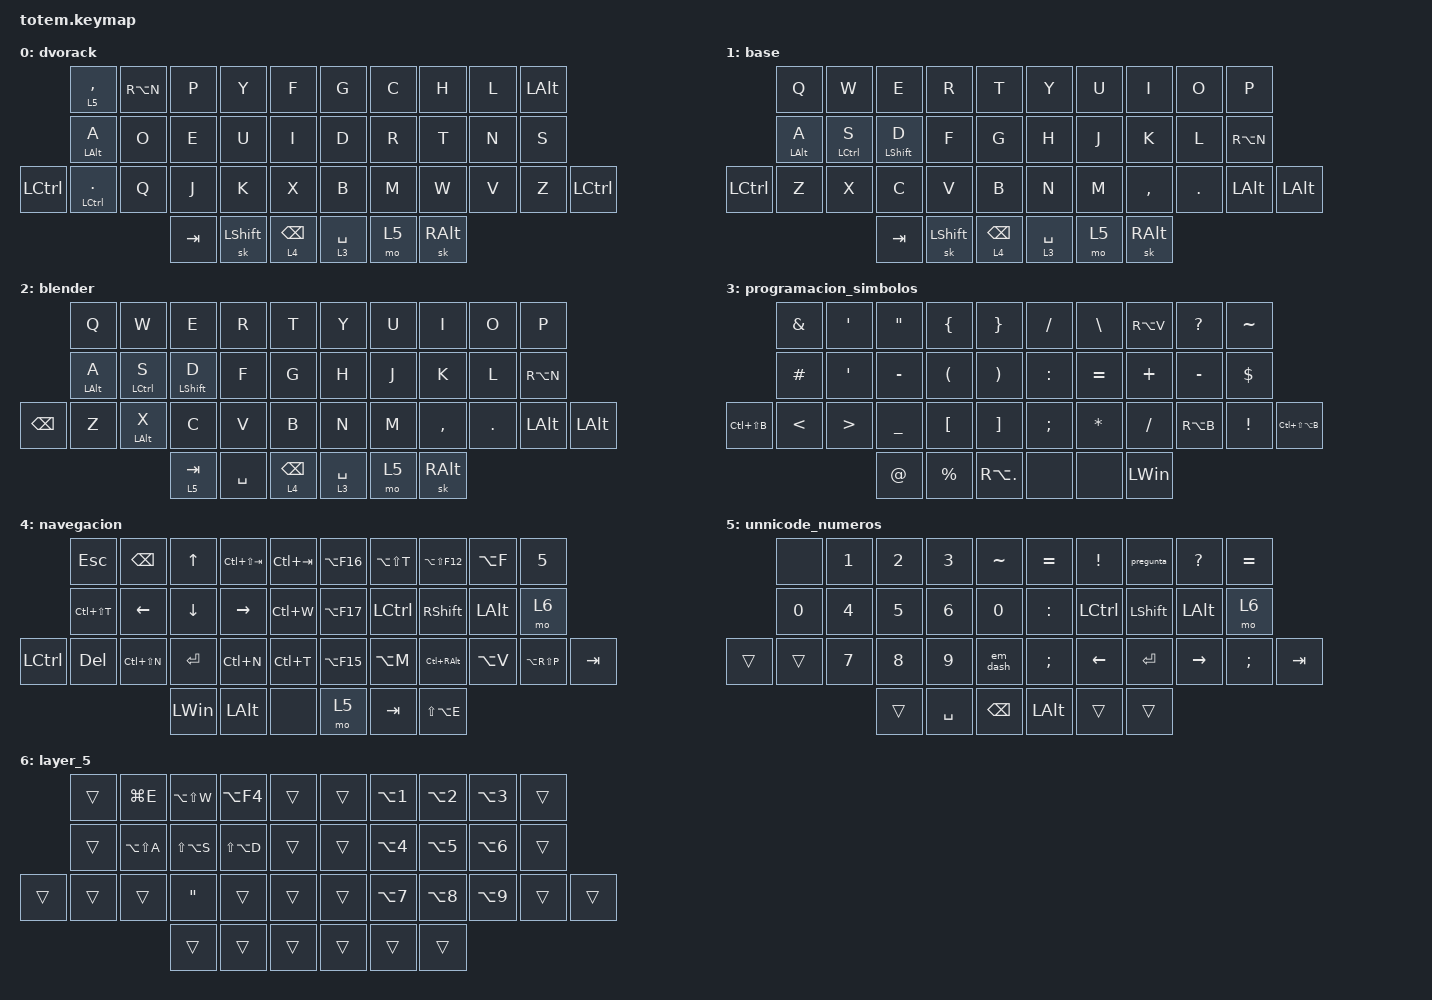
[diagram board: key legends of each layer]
//
//                                                        ▀▀▀▀▀     ▀▀▀▀▀          ▀▀█▀▀
//                                                        ▄▀▀▀▄  ▄  ▄▀▀▀▄  ▄  ▄▀▀▀▄  █  ▄▀▀▀▄
//                                                        █   █  █  █   █  █  █   █  █  █   █
//                                                         ▀▀▀   █   ▀▀▀   █   ▀▀▀   ▀   ▀▀▀
//                                                               █      ▄▄▄█▄▄▄    █   █  
//                                                               ▀      █  █  █     █▄█
//                                                             ▀▀▀▀▀    █  █  █      ▀
//                                                                      ▀  ▀  ▀
//
// ▄▄▄▄▄▄▄▄▄▄▄▄▄▄▄▄▄▄▄▄▄▄▄▄▄▄▄▄▄▄▄▄▄▄▄▄▄▄▄▄▄▄▄▄▄▄▄▄▄▄▄▄▄▄▄▄▄▄▄▄▄▄▄▄▄▄▄▄▄▄▄▄▄▄▄▄▄▄▄▄▄▄▄▄▄▄▄▄▄▄▄▄▄▄▄▄▄▄▄▄▄▄▄▄▄▄▄▄▄▄▄▄▄▄▄▄▄▄▄▄▄▄▄▄▄▄▄▄▄▄▄▄▄▄▄▄▄▄▄▄▄▄▄▄▄▄▄▄▄

#include <behaviors.dtsi>
#include <dt-bindings/zmk/bt.h>
#include <dt-bindings/zmk/keys.h>

&lt { tapping-term-ms = <140>; };

&mt {
    tapping-term-ms = <280>;
    flavor = "balanced";
    require-prior-idle-ms = <150>;
};

/ {
    combos {
        compatible = "zmk,combos";

        dobleCtrl {
            bindings = <&kp F13>;
            key-positions = <15 14>;
            layers = <0 1>;
        };

        ctrlAlt {
            bindings = <&kp LC(A)>;
            key-positions = <10 34>;
            layers = <0 1>;
        };

        controlX {
            bindings = <&kp LC(X)>;
            key-positions = <13 12 11>;
        };

        ctrlV {
            bindings = <&kp LC(V)>;
            key-positions = <23 24>;
        };

        ctrlC {
            bindings = <&kp LC(C)>;
            key-positions = <12 13>;
        };

        f6 {
            bindings = <&kp F6>;
            key-positions = <35 15>;
        };

        ctrlZ {
            bindings = <&kp LC(Z)>;
            key-positions = <21 22>;
        };

        ctrlShiftZ {
            bindings = <&kp LC(RS(Z))>;
            key-positions = <21 22 23>;
        };

        f5 {
            bindings = <&kp F5>;
            key-positions = <4 34>;
            layers = <0 1>;
        };

        dvorak {
            bindings = <&to 0>;
            key-positions = <4 20>;
            layers = <1 2>;
        };

        qwerty {
            bindings = <&to 1>;
            key-positions = <4 20>;
            layers = <0 2>;
        };

        enter {
            bindings = <&kp ENTER>;
            key-positions = <34 35>;
            layers = <0 1>;
        };

        japonesOcr {
            bindings = <&kp RA(F7)>;
            key-positions = <34 32>;
            layers = <0 1>;
        };

        blutoohClear {
            bindings = <&bt BT_CLR_ALL>;
            key-positions = <9 0>;
        };

        spaceDos {
            bindings = <&kp SPACE>;
            key-positions = <11 13>;
            layers = <0 1 2>;
        };

        esc {
            bindings = <&kp ESCAPE>;
            key-positions = <0 34>;
        };

        save {
            bindings = <&kp LC(S)>;
            key-positions = <12 20>;
        };

        altF4 {
            bindings = <&kp LA(F4)>;
            key-positions = <6 8>;
        };

        menu_win {
            bindings = <&kp LG(E)>;
            key-positions = <1 2>;
            layers = <0 1>;
        };

        shiftEnter {
            bindings = <&kp LS(ENTER)>;
            key-positions = <33 36>;
            layers = <1 4>;
        };

        blender {
            bindings = <&to 2>;
            key-positions = <20 14>;
            layers = <0 1>;
        };

        f11 {
            bindings = <&kp F11>;
            key-positions = <26 35>;
        };

        anki {
            bindings = <&to 0>;
            key-positions = <20 0>;
        };
    };

    macros {
        pregunta: new_macro {
            compatible = "zmk,behavior-macro";
            #binding-cells = <0>;
            bindings =
                <&macro_press>,
                <&kp LALT>,
                <&macro_tap>,
                <&kp KP_NUMBER_0>,
                <&macro_tap>,
                <&kp KP_N1>,
                <&macro_tap>,
                <&kp KP_NUMBER_9>,
                <&macro_tap>,
                <&kp KP_N1>,
                <&macro_release>,
                <&kp LEFT_ALT>;

            label = "NEW_MACRO";
        };

        exclamacion: exclamacion {
            compatible = "zmk,behavior-macro";
            #binding-cells = <0>;
            bindings =
                <&macro_press>,
                <&kp LEFT_ALT>,
                <&macro_tap>,
                <&kp KP_N1>,
                <&macro_tap>,
                <&kp KP_N7>,
                <&macro_tap>,
                <&kp KP_N3>,
                <&macro_release>,
                <&kp LEFT_ALT>;
        };

        em_dash: em_dash {
            compatible = "zmk,behavior-macro";
            #binding-cells = <0>;
            bindings =
                <&macro_press>,
                <&kp LEFT_ALT>,
                <&macro_tap>,
                <&kp KP_N0>,
                <&macro_tap>,
                <&kp KP_N1>,
                <&macro_tap>,
                <&kp KP_N5>,
                <&macro_tap>,
                <&kp KP_N1>,
                <&macro_release>,
                <&kp LEFT_ALT>;
        };

        guillemet_left: guillemet_left {
            compatible = "zmk,behavior-macro";
            #binding-cells = <0>;
            bindings =
                <&macro_press>,
                <&kp LEFT_ALT>,
                <&macro_tap>,
                <&kp KP_N0>,
                <&macro_tap>,
                <&kp KP_N1>,
                <&macro_tap>,
                <&kp KP_N7>,
                <&macro_tap>,
                <&kp KP_N1>,
                <&macro_release>,
                <&kp LEFT_ALT>;
        };

        guillemet_right: guillemet_right {
            compatible = "zmk,behavior-macro";
            #binding-cells = <0>;
            bindings =
                <&macro_press>,
                <&kp LEFT_ALT>,
                <&macro_tap>,
                <&kp KP_N0>,
                <&macro_tap>,
                <&kp KP_N1>,
                <&macro_tap>,
                <&kp KP_N8>,
                <&macro_tap>,
                <&kp KP_N7>,
                <&macro_release>,
                <&kp LEFT_ALT>;
        };
    };

    behaviors {
        spacio_capa: spacio_capa {
            compatible = "zmk,behavior-hold-tap";
            label = "SPACIO_CAPA";
            #binding-cells = <2>;
            flavor = "balanced";
            tapping-term-ms = <200>;
            bindings = <&mo>, <&kp>;
        };

        altBehaivor: altBehaivor {
            compatible = "zmk,behavior-hold-tap";
            label = "ALTBEHAIVOR";
            bindings = <&none>, <&none>;

            #binding-cells = <2>;
            tapping-term-ms = <1280>;
            quick-tap-ms = <175>;
            require-prior-idle-ms = <150>;
            flavor = "balanced";
            hold-trigger-key-positions = <20 32 33 31>;
            hold-trigger-on-release;
        };

        altHoldFast: altHoldFast {
            compatible = "zmk,behavior-hold-tap";
            label = "ALTHOLDFAST";
            bindings = <&kp>, <&kp>;

            #binding-cells = <2>;
            hold-while-undecided;
            tapping-term-ms = <200>;
            quick-tap-ms = <0>;
            require-prior-idle-ms = <150>;
        };
    };

    keymap {
        compatible = "zmk,keymap";

        dvorack {
            bindings = <
                  &lt 5 COMMA     &kp RA(N)  &kp P    &kp Y           &kp F              &kp G        &kp C  &kp H          &kp L  &kp LEFT_ALT
                  &mt LEFT_ALT A  &kp O      &kp E    &kp U           &kp I              &kp D        &kp R  &kp T          &kp N  &kp S
&kp LEFT_CONTROL  &mt LCTRL DOT   &kp Q      &kp J    &kp K           &kp X              &kp B        &kp M  &kp W          &kp V  &kp Z         &kp LCTRL
                                             &kp TAB  &sk LEFT_SHIFT  &lt 4 BACKSPACE    &lt 3 SPACE  &mo 5  &sk RIGHT_ALT
            >;
        };

        base {
            bindings = <
                  &kp Q           &kp W        &kp E             &kp R           &kp T              &kp Y                 &kp U  &kp I          &kp O    &kp P
                  &mt LEFT_ALT A  &mt LCTRL S  &mt LEFT_SHIFT D  &kp F           &kp G              &kp H                 &kp J  &kp K          &kp L    &kp RA(N)
&kp LEFT_CONTROL  &kp Z           &kp X        &kp C             &kp V           &kp B              &kp N                 &kp M  &kp COMMA      &kp DOT  &kp LEFT_ALT  &kp LEFT_ALT
                                               &kp TAB           &sk LEFT_SHIFT  &lt 4 BACKSPACE    &spacio_capa 3 SPACE  &mo 5  &sk RIGHT_ALT
            >;
        };

        blender {
            bindings = <
               &kp Q                    &kp W                    &kp E             &kp R      &kp T              &kp Y                 &kp U  &kp I          &kp O    &kp P
               &altHoldFast LEFT_ALT A  &mt LCTRL S              &mt LEFT_SHIFT D  &kp F      &kp G              &kp H                 &kp J  &kp K          &kp L    &kp RA(N)
&kp BACKSPACE  &kp Z                    &altHoldFast LEFT_ALT X  &kp C             &kp V      &kp B              &kp N                 &kp M  &kp COMMA      &kp DOT  &kp LEFT_ALT  &kp LEFT_ALT
                                                                 &lt 5 TAB         &kp SPACE  &lt 4 BACKSPACE    &spacio_capa 3 SPACE  &mo 5  &sk RIGHT_ALT
            >;
        };

        programacion_simbolos {
            bindings = <
               &kp AMPS       &kp SQT           &kp DOUBLE_QUOTES  &kp LEFT_BRACE        &kp RIGHT_BRACE          &kp SLASH  &kp BACKSLASH  &kp RA(V)     &kp QUESTION  &kp TILDE
               &kp HASH       &kp SINGLE_QUOTE  &kp MINUS          &kp LEFT_PARENTHESIS  &kp RIGHT_PARENTHESIS    &kp COLON  &kp EQUAL      &kp PLUS      &kp MINUS     &kp DOLLAR
&kp LC(LS(B))  &kp LESS_THAN  &kp GREATER_THAN  &kp UNDERSCORE     &kp LEFT_BRACKET      &kp RIGHT_BRACKET        &kp SEMI   &kp ASTERISK   &kp SLASH     &kp RA(B)     &kp EXCLAMATION  &kp LC(LS(LA(B)))
                                                &kp AT_SIGN        &kp PERCENT           &kp RA(PERIOD)           &none      &none          &kp LEFT_WIN
            >;
        };

        navegacion {
            bindings = <
                  &kp ESCAPE     &kp BACKSPACE  &kp UP        &kp LC(LS(TAB))  &kp LC(TAB)    &kp LA(F16)  &kp LA(LS(T))  &kp LA(LS(F12))    &kp LA(F)     &kp NUMBER_5
                  &kp LC(LS(T))  &kp LEFT       &kp DOWN      &kp RIGHT        &kp LC(W)      &kp LA(F17)  &kp LCTRL      &kp RSHFT          &kp LEFT_ALT  &mo 6
&kp LEFT_CONTROL  &kp DEL        &kp LC(LS(N))  &kp ENTER     &kp LC(N)        &kp LC(T)      &kp LA(F15)  &kp LA(M)      &kp LC(RIGHT_ALT)  &kp LA(V)     &kp LA(RS(P))  &kp TAB
                                                &kp LEFT_WIN  &kp LEFT_ALT     &none          &mo 5        &kp TAB        &kp LS(LA(E))
            >;
        };

        unnicode_numeros {
            bindings = <
        &none   &kp N1  &kp N2  &kp N3     &kp TILDE        &kp EQUAL     &kp EXCLAMATION   &pregunta       &kp QUESTION  &kp EQUAL
        &kp N0  &kp N4  &kp N5  &kp N6     &kp N0           &kp COLON     &kp LEFT_CONTROL  &kp LEFT_SHIFT  &kp LEFT_ALT  &mo 6
&trans  &trans  &kp N7  &kp N8  &kp N9     &em_dash         &kp SEMI      &kp LEFT          &kp ENTER       &kp RIGHT     &kp SEMI   &kp TAB
                        &trans  &kp SPACE  &kp BACKSPACE    &kp LEFT_ALT  &trans            &trans
            >;
        };

        layer_5 {
            bindings = <
        &trans  &kp LG(E)      &kp LA(LS(W))      &kp LA(F4)     &trans    &trans  &kp LA(N1)  &kp LA(N2)  &kp LA(N3)  &trans
        &trans  &kp LA(LS(A))  &kp LS(LA(S))      &kp LS(LA(D))  &trans    &trans  &kp LA(N4)  &kp LA(N5)  &kp LA(N6)  &trans
&trans  &trans  &trans         &kp DOUBLE_QUOTES  &trans         &trans    &trans  &kp LA(N7)  &kp LA(N8)  &kp LA(N9)  &trans  &trans
                               &trans             &trans         &trans    &trans  &trans      &trans
            >;
        };
    };

    conditional_layers { compatible = "zmk,conditional-layers"; };
};
